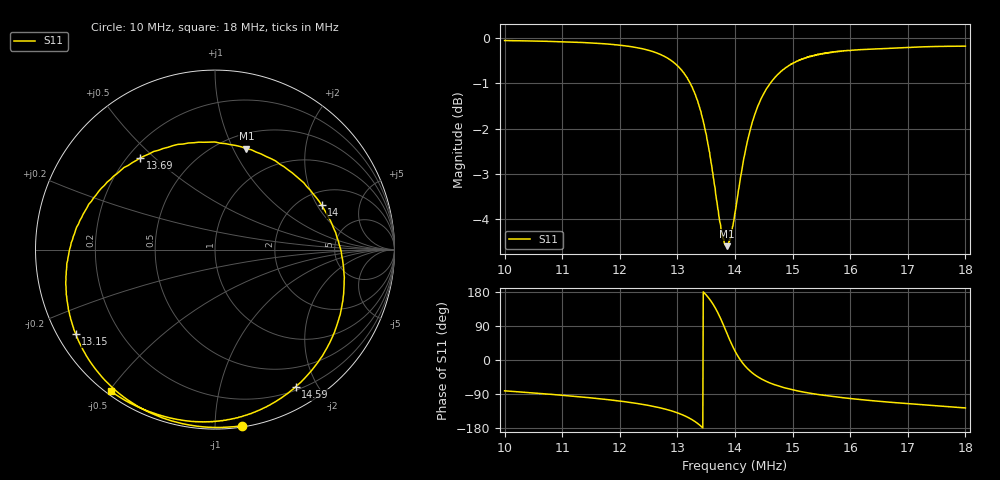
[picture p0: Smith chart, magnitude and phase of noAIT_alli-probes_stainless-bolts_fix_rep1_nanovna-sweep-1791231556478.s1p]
! NanoVNA Web complex sweep
! Processing: unaveraged complex samples; linear segment spacing; no smoothing
# Hz S RI R 50
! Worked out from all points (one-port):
!   1010 points, 10 MHz to 18 MHz, reference 50 ohm
!   lowest |S11| = -4.6 dB at 13.85 MHz (marker M1), VSWR 3.87, Z = 32.7 + j56.4 ohm
!   |S11| at or under -10 dB: nowhere
!   S11 on the Smith chart (normalised r, x): 10 MHz: 0.01, -1.16; 13.15 MHz: 0.05, -0.28; 13.69 MHz: 0.25, +0.45; 14 MHz: 2.59, +2.19; 14.59 MHz: 0.24, -1.72; 18 MHz: 0.01, -0.50
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1e7  0.1492 -0.9818
1.100698e7  -0.0538 -0.9885
1.200604e7  -0.3108 -0.9306
1.260071e7  -0.5238 -0.8097
1.282272e7  -0.6227 -0.7177
1.300509e7  -0.71 -0.6018
1.314781e7  -0.7761 -0.4708
1.331432e7  -0.8288 -0.2483
1.346497e7  -0.8011 0.0378
1.357598e7  -0.6767 0.2877
1.363148e7  -0.5655 0.4088
1.368698e7  -0.4165 0.5111
1.37742e7  -0.1187 0.5954
1.385349e7  0.1746 0.5628
1.393278e7  0.4309 0.4272
1.400414e7  0.594 0.2472
1.406758e7  0.6787 0.0711
1.413101e7  0.7159 -0.0966
1.420237e7  0.714 -0.2654
1.428959e7  0.6748 -0.4339
1.442438e7  0.5777 -0.6215
1.459089e7  0.4488 -0.7652
1.477326e7  0.3203 -0.8571
1.50032e7  0.1828 -0.9194
1.544722e7  -0.0187 -0.9576
1.600225e7  -0.1945 -0.9485
1.700131e7  -0.4165 -0.8821
1.800036e7  -0.5817 -0.7874
